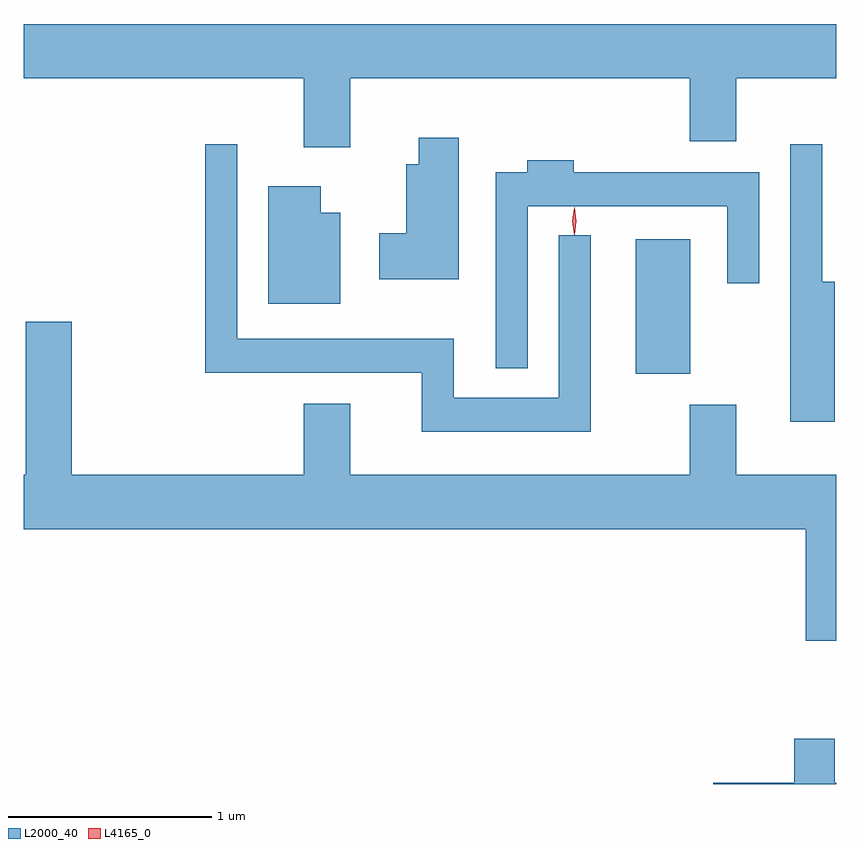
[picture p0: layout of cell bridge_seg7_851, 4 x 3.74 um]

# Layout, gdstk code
import gdstk
lib = gdstk.Library(unit=1e-6, precision=1e-09)
def R(c, l, rs):  # rectangles x0, y0, x1, y1
    for r in rs: c.add(gdstk.rectangle(r[:2], r[2:], *l))
def P(c, l, *ps):  # polygons
    for p in ps: c.add(gdstk.Polygon(p, *l))
L2000_40 = (2000, 40)
L4165_0 = (4165, 0)

bridge_seg7_851 = lib.new_cell('bridge_seg7_851')
R(bridge_seg7_851, L2000_40, [(353.636,1688.441,353.904,1689.104)])
P(bridge_seg7_851, L2000_40, [(352.229,1689.896),(353.901,1689.896),(353.901,1689.586),(354.129,1689.586),(354.129,1689.896),(354.622,1689.896),(354.622,1690.164),(350.622,1690.164),(350.622,1689.896),(352.001,1689.896),(352.001,1689.556),(352.229,1689.556)],
  [(352.764,1689.604),(352.566,1689.604),(352.566,1689.474),(352.506,1689.474),(352.506,1689.134),(352.371,1689.134),(352.371,1688.906),(352.764,1688.906)],
  [(354.614,1688.894),(354.554,1688.894),(354.554,1689.573),(354.396,1689.573),(354.396,1688.206),(354.614,1688.206)],
  [(353.414,1689.123),(353.256,1689.123),(353.256,1688.324),(352.739,1688.324),(352.739,1688.614),(351.674,1688.614),(351.674,1689.573),(351.516,1689.573),(351.516,1688.446),(352.581,1688.446),(352.581,1688.156),(353.414,1688.156)],
  [(353.104,1689.266),(354.086,1689.266),(354.086,1688.888),(354.244,1688.888),(354.244,1689.434),(353.329,1689.434),(353.329,1689.494),(353.101,1689.494),(353.101,1689.434),(352.946,1689.434),(352.946,1688.468),(353.104,1688.468)],
  [(352.179,1689.234),(352.084,1689.234),(352.084,1689.364),(351.826,1689.364),(351.826,1688.786),(352.179,1688.786)],
  [(354.471,1687.128),(354.622,1687.128),(354.622,1687.944),(354.129,1687.944),(354.129,1688.289),(353.901,1688.289),(353.901,1687.944),(352.229,1687.944),(352.229,1688.294),(352.001,1688.294),(352.001,1687.944),(350.859,1687.944),(350.859,1688.699),(350.631,1688.699),(350.631,1687.944),(350.622,1687.944),(350.622,1687.676),(354.471,1687.676)],
  [(354.622,1686.429),(354.614,1686.429),(354.614,1686.644),(354.416,1686.644),(354.416,1686.429),(354.016,1686.429),(354.016,1686.422),(354.622,1686.422)])
P(bridge_seg7_851, L4165_0, [(353.332,1689.127),(353.323,1689.194),(353.332,1689.26),(353.333,1689.261),(353.334,1689.26),(353.343,1689.194),(353.334,1689.127),(353.333,1689.127)])

lib.write_gds('bridge_seg7_851.gds')
